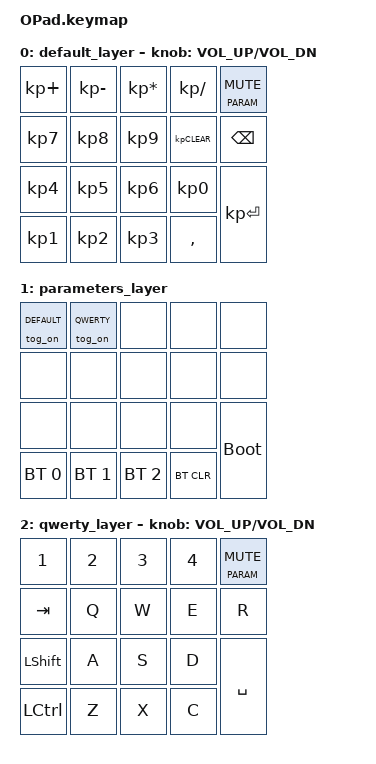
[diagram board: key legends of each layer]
#include <behaviors.dtsi>
#include <dt-bindings/zmk/keys.h>
#include <dt-bindings/zmk/bt.h>
#define DEFAULT 0
#define PARAM   1
#define QWERTY  2

/ {
    keymap {
        compatible = "zmk,keymap";

        default_layer { // Layer 0
            // -------------------------------------
            // |     Z     |     M     |     K     |
            // |     A     |     B     |     C     |
            // |     D     |     E     |     F     |
            bindings = <
                &kp KP_PLUS   &kp KP_MINUS   &kp KP_MULTIPLY   &kp KP_DIVIDE   &lt PARAM C_MUTE
                &kp KP_N7     &kp KP_N8      &kp KP_N9         &kp KP_CLEAR    &kp BSPC
                &kp KP_N4     &kp KP_N5      &kp KP_N6         &kp KP_N0       &kp KP_ENTER
                &kp KP_N1     &kp KP_N2      &kp KP_N3         &kp COMMA
            >;
            sensor-bindings = <&inc_dec_kp C_VOL_UP C_VOL_DN>;
        };
        
        parameters_layer {
        	bindings = <
        		&tog_on DEFAULT    &tog_on QWERTY    &none           &none           &none
        		&none              &none             &none           &none           &none
        		&none              &none             &none           &none           &bootloader
        		&bt BT_SEL 0       &bt BT_SEL 1      &bt BT_SEL 2    &bt BT_CLR
        	>;
        };
        
        qwerty_layer {
        	bindings = <
        		&kp N1      &kp N2   &kp N3   &kp N4   &lt PARAM C_MUTE
        		&kp TAB     &kp Q    &kp W    &kp E    &kp R
        		&kp LSHIFT  &kp A    &kp S    &kp D    &kp SPACE
        		&kp LCTRL   &kp Z    &kp X    &kp C
        	>;
        	sensor-bindings = <&inc_dec_kp C_VOL_UP C_VOL_DN>;
        };
        
        combos {
        	compatible = "zmk,combos";
        	combo_esc {
            	timeout-ms = <50>;
            	key-positions = <0 1>;
           		bindings = <&kp ESC>;
           		layers = <QWERTY>;
        	};
    	};
    };
    
    behaviors {
        	tog_on: toggle_layer_on_only {
            	compatible = "zmk,behavior-toggle-layer";
            	#binding-cells = <1>;
            	display-name = "Toggle Layer On";
            	toggle-mode = "on";
        	};
    };
 };
